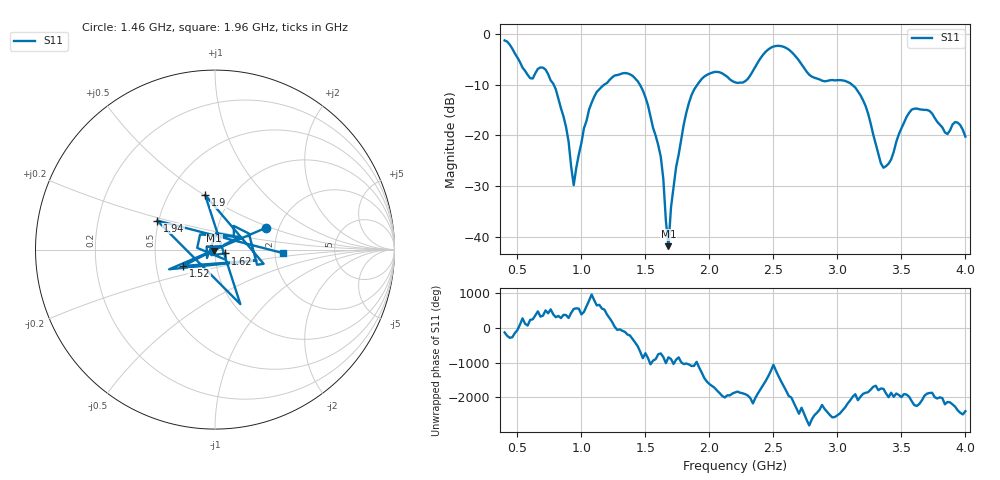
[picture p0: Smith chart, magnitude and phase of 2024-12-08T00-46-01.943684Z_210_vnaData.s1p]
!Created with skrf (http://scikit-rf.org).
# Hz S RI R 50.0
!freq ReS11 ImS11
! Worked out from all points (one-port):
!   181 points, 400 MHz to 4 GHz, reference 50 ohm
!   lowest |S11| = -41.9 dB at 1.68 GHz (marker M1), VSWR 1.02, Z = 49.5 - j0.602 ohm
!   |S11| at or under -10 dB: 783.9 MHz to 1.177 GHz (393.5 MHz wide, 40.1 % of centre); 1.457 GHz to 1.906 GHz (448.8 MHz wide, 26.7 % of centre); 3.115 GHz to end of sweep
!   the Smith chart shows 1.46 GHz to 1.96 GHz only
!   S11 on the Smith chart (normalised r, x): 1.46 GHz: 1.72, +0.47; 1.52 GHz: 0.69, -0.13; 1.62 GHz: 1.12, -0.05; 1.9 GHz: 0.75, +0.50; 1.94 GHz: 0.49, +0.18; 1.96 GHz: 2.22, -0.10
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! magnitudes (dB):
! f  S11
! 400 MHz  -1.3
! 600 MHz  -8.7
! 720 MHz  -7.0
! 860 MHz  -16.3
! 940 MHz  -29.8
! 1.08 GHz  -13.6
! 1.3 GHz  -8.0
! 1.46 GHz  -10.1
! 1.52 GHz  -14.1
! 1.62 GHz  -24.2
! 1.68 GHz  -41.9
! 1.7 GHz  -34.2
! 1.76 GHz  -23.8
! 1.82 GHz  -15.5
! 1.9 GHz  -10.2
! 1.94 GHz  -8.9
! 1.96 GHz  -8.4
! 2.2 GHz  -9.5
! 2.48 GHz  -2.7
! 2.66 GHz  -4.0
! 2.8 GHz  -8.4
! 3.1 GHz  -9.7
! 3.22 GHz  -14.2
! 3.36 GHz  -26.4
! 3.56 GHz  -15.6
! 3.86 GHz  -19.7
! 3.94 GHz  -17.5
! 4 GHz  -20.2
